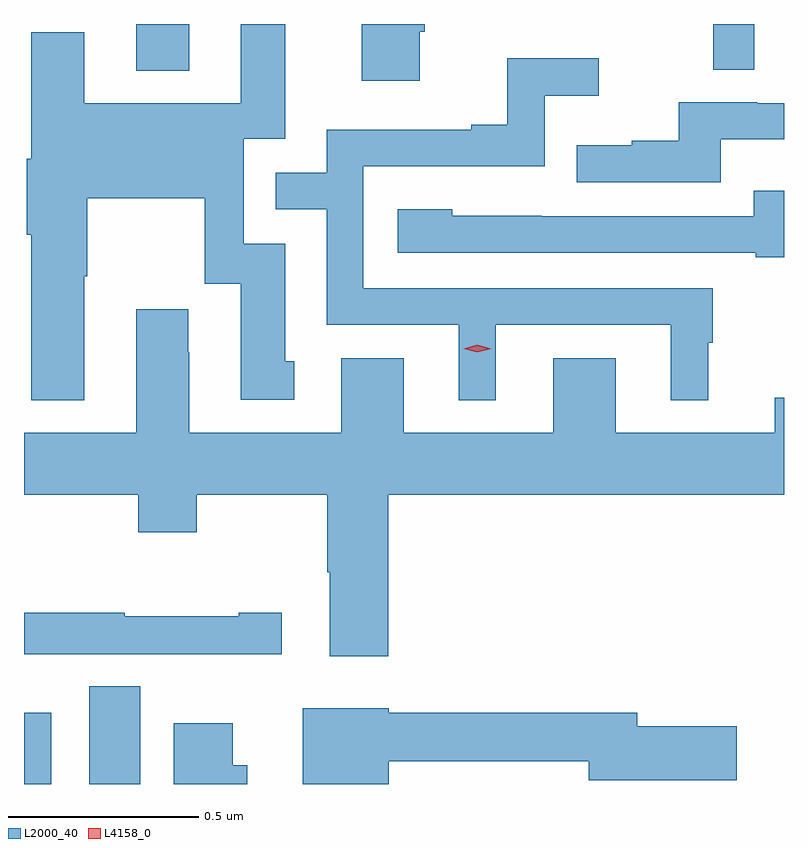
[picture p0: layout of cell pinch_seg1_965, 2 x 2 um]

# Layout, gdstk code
import gdstk
lib = gdstk.Library(unit=1e-6, precision=1e-09)
def R(c, l, rs):  # rectangles x0, y0, x1, y1
    for r in rs: c.add(gdstk.rectangle(r[:2], r[2:], *l))
def P(c, l, *ps):  # polygons
    for p in ps: c.add(gdstk.Polygon(p, *l))
L2000_40 = (2000, 40)
L4158_0 = (4158, 0)

pinch_seg1_965 = lib.new_cell('pinch_seg1_965')
R(pinch_seg1_965, L2000_40, [(144.988,569.619,145.06,569.806), (145.16,569.619,145.294,569.876), (145.283,571.496,145.423,571.619), (146.802,571.498,146.91,571.619)])
P(pinch_seg1_965, L2000_40, [(145.147,570.955),(145.155,570.955),(145.155,571.16),(145.463,571.16),(145.463,570.936),(145.559,570.936),(145.559,570.63),(145.699,570.63),(145.699,570.732),(145.675,570.732),(145.675,571.041),(145.566,571.041),(145.566,571.317),(145.675,571.317),(145.675,571.619),(145.559,571.619),(145.559,571.411),(145.147,571.411),(145.147,571.597),(145.007,571.597),(145.007,571.264),(144.995,571.264),(144.995,571.064),(145.007,571.064),(145.007,570.629),(145.147,570.629)],
  [(146.029,571.599),(146.042,571.599),(146.042,571.619),(145.877,571.619),(145.877,571.47),(146.029,571.47)],
  [(146.23,570.828),(146.69,570.828),(146.69,570.629),(146.788,570.629),(146.788,570.78),(146.8,570.78),(146.8,570.924),(145.881,570.924),(145.881,571.245),(146.358,571.245),(146.358,571.43),(146.5,571.43),(146.5,571.529),(146.26,571.529),(146.26,571.354),(146.165,571.354),(146.165,571.341),(145.785,571.341),(145.785,571.227),(145.651,571.227),(145.651,571.131),(145.785,571.131),(145.785,570.828),(146.132,570.828),(146.132,570.629),(146.23,570.629)],
  [(146.821,571.316),(146.988,571.316),(146.988,571.41),(146.918,571.41),(146.918,571.413),(146.711,571.413),(146.711,571.312),(146.587,571.312),(146.587,571.3),(146.443,571.3),(146.443,571.203),(146.821,571.203)],
  [(146.988,571.18),(146.909,571.18),(146.909,571.113),(146.351,571.113),(146.351,571.114),(146.115,571.114),(146.115,571.132),(145.971,571.132),(145.971,571.017),(146.913,571.017),(146.913,571.005),(146.988,571.005)],
  [(146.988,570.635),(146.963,570.635),(146.963,570.544),(146.545,570.544),(146.545,570.739),(146.381,570.739),(146.381,570.544),(145.987,570.544),(145.987,570.739),(145.823,570.739),(145.823,570.544),(145.423,570.544),(145.423,570.755),(145.42,570.755),(145.42,570.868),(145.283,570.868),(145.283,570.544),(144.988,570.544),(144.988,570.38),(145.288,570.38),(145.288,570.281),(145.443,570.281),(145.443,570.38),(145.786,570.38),(145.786,570.176),(145.793,570.176),(145.793,569.955),(145.946,569.955),(145.946,570.38),(146.988,570.38)],
  [(145.056,569.961),(145.39,569.961),(145.39,569.96),(145.666,569.96),(145.666,570.07),(145.553,570.07),(145.553,570.06),(145.253,570.06),(145.253,570.07),(144.988,570.07),(144.988,569.96),(145.056,569.96)],
  [(145.948,569.679),(146.474,569.679),(146.474,569.629),(146.863,569.629),(146.863,569.771),(146.602,569.771),(146.602,569.807),(145.948,569.807),(145.948,569.818),(145.721,569.818),(145.721,569.619),(145.948,569.619)],
  [(145.576,569.668),(145.537,569.668),(145.537,569.779),(145.382,569.779),(145.382,569.619),(145.576,569.619)])
P(pinch_seg1_965, L4158_0, [(146.181,570.755),(146.145,570.765),(146.145,570.765),(146.145,570.765),(146.181,570.775),(146.217,570.765),(146.217,570.765),(146.217,570.765)])

lib.write_gds('pinch_seg1_965.gds')
